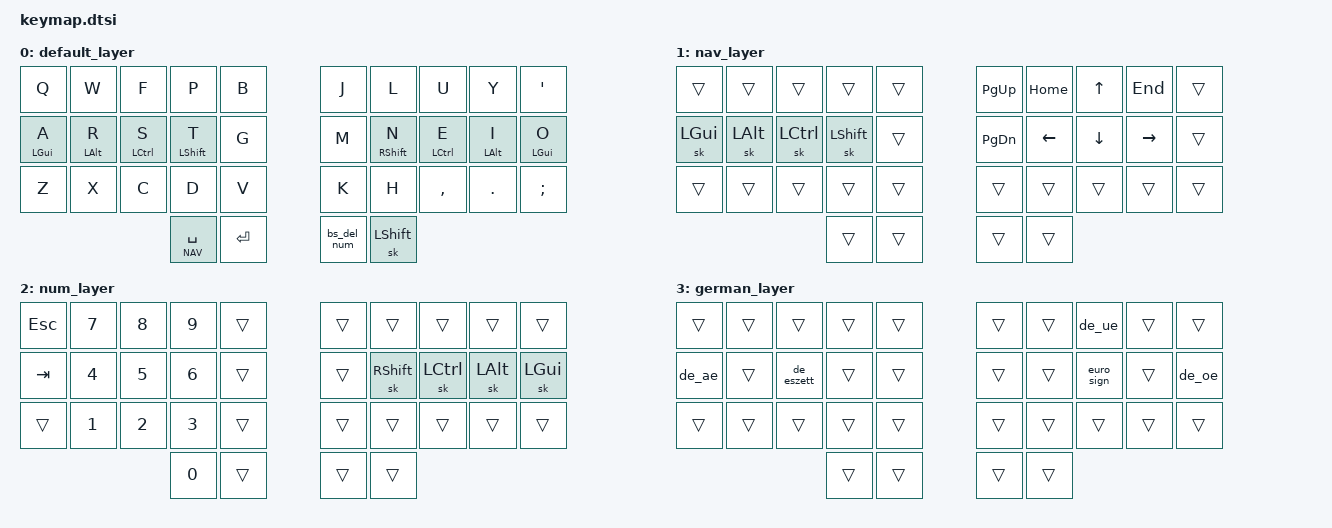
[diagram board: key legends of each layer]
#include <behaviors.dtsi>
#include <dt-bindings/zmk/keys.h>

#include "zmk-helpers/helper.h"
#include "zmk-helpers/key-labels/34.h"
#include "zmk-helpers/unicode-chars/german.dtsi"

#define ___ &trans

#define DEF 0
#define NAV 1
#define NUM 2
#define GER 3

ZMK_LAYER(default_layer,
     // ╭─────────────┬─────────────┬─────────────┬─────────────┬─────────────╮   ╭─────────────┬─────────────┬─────────────┬─────────────┬─────────────╮
          &kp Q         &kp W         &kp F         &kp P         &kp B             &kp J         &kp L         &kp U         &kp Y         &kp SQT
     // ├─────────────┼─────────────┼─────────────┼─────────────┼─────────────┤   ├─────────────┼─────────────┼─────────────┼─────────────┼─────────────┤
          &hml LGUI A   &hml LALT R   &hml LCTRL S  &hml LSHFT T  &kp G             &kp M         &hmr RSHFT N  &hmr LCTRL E  &hmr LALT I   &hmr LGUI O
     // ├─────────────┼─────────────┼─────────────┼─────────────┼─────────────┤   ├─────────────┼─────────────┼─────────────┼─────────────┼─────────────┤
          &kp Z         &kp X         &kp C         &kp D         &kp V             &kp K         &kp H         &kp COMMA     &kp DOT       &kp SEMI
     // ╰─────────────────────────────────────────┼─────────────┼─────────────┤   ├─────────────┼─────────────┼─────────────────────────────────────────╯
                                                    &lt NAV SPACE &kp RET           &bs_del_num   &sk LSHFT
     //                                           ╰─────────────┴─────────────╯   ╰─────────────┴─────────────╯
)

ZMK_LAYER(nav_layer,
     // ╭─────────────┬─────────────┬─────────────┬─────────────┬─────────────╮   ╭─────────────┬─────────────┬─────────────┬─────────────┬─────────────╮
          ___           ___           ___           ___           ___               &kp PG_UP     &kp HOME      &kp UP        &kp END       ___
     // ├─────────────┼─────────────┼─────────────┼─────────────┼─────────────┤   ├─────────────┼─────────────┼─────────────┼─────────────┼─────────────┤
          &sk LGUI      &sk LALT      &sk LCTRL     &sk LSHFT     ___               &kp PG_DN     &kp LEFT      &kp DOWN      &kp RIGHT     ___
     // ├─────────────┼─────────────┼─────────────┼─────────────┼─────────────┤   ├─────────────┼─────────────┼─────────────┼─────────────┼─────────────┤
          ___           ___           ___           ___           ___               ___           ___           ___           ___           ___
     // ╰─────────────────────────────────────────┼─────────────┼─────────────┤   ├─────────────┼─────────────┼─────────────────────────────────────────╯
                                                    ___           ___               ___           ___
     //                                           ╰─────────────┴─────────────╯   ╰─────────────┴─────────────╯
)

ZMK_LAYER(num_layer,
     // ╭─────────────┬─────────────┬─────────────┬─────────────┬─────────────╮   ╭─────────────┬─────────────┬─────────────┬─────────────┬─────────────╮
          &kp ESC       &kp N7        &kp N8        &kp N9        ___               ___           ___           ___           ___           ___
     // ├─────────────┼─────────────┼─────────────┼─────────────┼─────────────┤   ├─────────────┼─────────────┼─────────────┼─────────────┼─────────────┤
          &kp TAB       &kp N4        &kp N5        &kp N6        ___               ___           &sk RSHFT     &sk LCTRL     &sk LALT      &sk LGUI
     // ├─────────────┼─────────────┼─────────────┼─────────────┼─────────────┤   ├─────────────┼─────────────┼─────────────┼─────────────┼─────────────┤
          ___           &kp N1        &kp N2        &kp N3        ___               ___           ___           ___           ___           ___
     // ╰─────────────────────────────────────────┼─────────────┼─────────────┤   ├─────────────┼─────────────┼─────────────────────────────────────────╯
                                                    &kp N0        ___               ___           ___
     //                                           ╰─────────────┴─────────────╯   ╰─────────────┴─────────────╯
)

ZMK_LAYER(german_layer,
     // ╭─────────────┬─────────────┬─────────────┬─────────────┬─────────────╮   ╭─────────────┬─────────────┬─────────────┬─────────────┬─────────────╮
          ___           ___           ___           ___           ___               ___           ___           &de_ue        ___           ___
     // ├─────────────┼─────────────┼─────────────┼─────────────┼─────────────┤   ├─────────────┼─────────────┼─────────────┼─────────────┼─────────────┤
          &de_ae        ___           &de_eszett    ___           ___               ___           ___           &euro_sign    ___           &de_oe
     // ├─────────────┼─────────────┼─────────────┼─────────────┼─────────────┤   ├─────────────┼─────────────┼─────────────┼─────────────┼─────────────┤
          ___           ___           ___           ___           ___               ___           ___           ___           ___           ___
     // ╰─────────────────────────────────────────┼─────────────┼─────────────┤   ├─────────────┼─────────────┼─────────────────────────────────────────╯
                                                    ___           ___               ___           ___
     //                                           ╰─────────────┴─────────────╯   ╰─────────────┴─────────────╯
)
